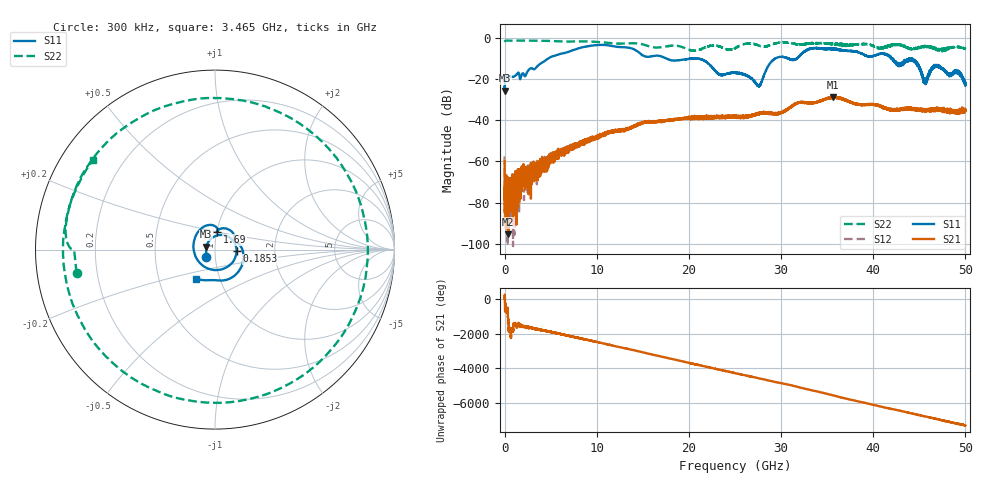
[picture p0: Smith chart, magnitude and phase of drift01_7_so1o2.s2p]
!Created with skrf (http://scikit-rf.org).
# Hz S RI R 50.0
!freq ReS11 ImS11 ReS21 ImS21 ReS12 ImS12 ReS22 ImS22
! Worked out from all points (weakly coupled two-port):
!   10001 points, 300 kHz to 50 GHz, reference 50 ohm
!   highest |S21| = -28.75 dB at 35.63 GHz (marker M1); lowest = -95.3 dB at 400.3 MHz (marker M2)
!   lowest |S11| = -25.8 dB at 5.3 MHz (marker M3), VSWR 1.11, Z = 45.3 + j1.44 ohm
!   |S11| at or under -10 dB: start of sweep to 4.762 GHz; 20.68 GHz to 29.41 GHz (8.732 GHz wide, 34.9 % of centre); 43.88 GHz to end of sweep (the widest 3 of 12)
!   |S22| runs from -6.7 to -1.4 dB; largest |S21 - S12| = 0.004
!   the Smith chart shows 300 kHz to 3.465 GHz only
!   S11 on the Smith chart (normalised r, x): 300 kHz: 0.90, -0.08; 185.3 MHz: 1.27, -0.02; 1.69 GHz: 1.00, +0.20; 3.465 GHz: 0.77, -0.26
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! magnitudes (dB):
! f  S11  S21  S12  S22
! 300 kHz  -23.9  -59.7  -57.5  -2.1
! 5.3 MHz  -25.8  -77.2  -77.1  -2.1
! 185.3 MHz  -18.4  -73.3  -75.5  -1.4
! 400.3 MHz  -18.5  -95.3  -75.7  -1.4
! 1.69 GHz  -20.1  -69.8  -70.5  -1.4
! 3.465 GHz  -14.3  -63.4  -64.9  -1.5
! 8.335 GHz  -4.8  -50.9  -50.5  -1.8
! 16.67 GHz  -8.7  -40.9  -40.9  -4.8
! 21.16 GHz  -10.3  -39.0  -38.8  -5.9
! 23.36 GHz  -17.8  -38.7  -38.5  -4.4
! 25 GHz  -17.0  -38.6  -37.9  -5.1
! 27.59 GHz  -23.6  -36.8  -36.6  -3.9
! 29.28 GHz  -10.4  -36.9  -36.8  -2.8
! 31.45 GHz  -10.8  -32.4  -32.5  -3.0
! 33.34 GHz  -5.2  -31.7  -31.8  -2.7
! 35.63 GHz  -5.7  -28.8  -29.0  -3.1
! 41.67 GHz  -8.9  -34.5  -34.6  -4.3
! 42.74 GHz  -13.0  -34.8  -34.9  -3.3
! 44.48 GHz  -11.4  -34.5  -34.6  -5.4
! 45.63 GHz  -21.0  -35.4  -34.8  -4.2
! 46.9 GHz  -13.8  -34.9  -34.5  -5.3
! 50 GHz  -22.0  -35.5  -35.2  -5.5
